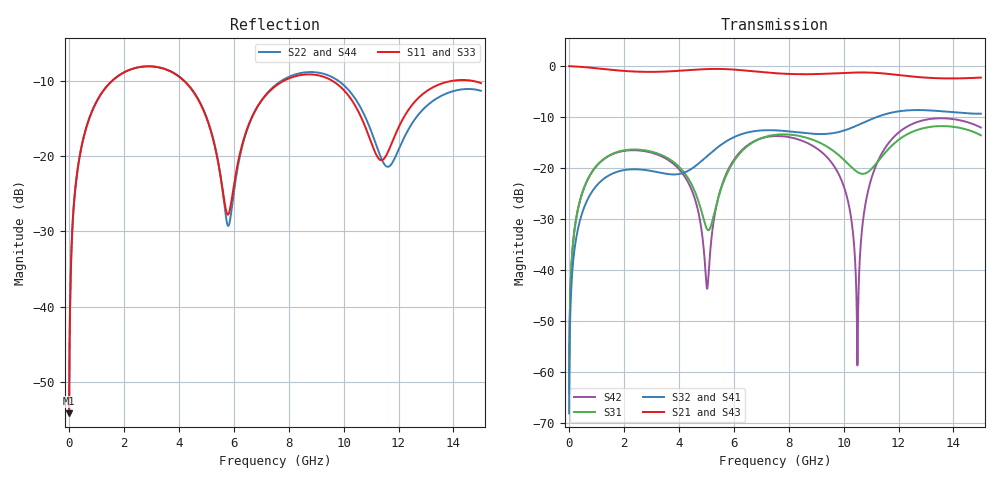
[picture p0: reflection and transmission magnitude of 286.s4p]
! Created with skrf 1.8.0 (http://scikit-rf.org).
# GHz S RI R 50.0
!freq ReS11 ImS11 ReS12 ImS12 ReS13 ImS13
! ReS14 ImS14
! ReS21 ImS21 ReS22 ImS22 ReS23 ImS23
! ReS24 ImS24
! ReS31 ImS31 ReS32 ImS32 ReS33 ImS33
! ReS34 ImS34
! ReS41 ImS41 ReS42 ImS42 ReS43 ImS43
! ReS44 ImS44
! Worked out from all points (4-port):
!   2499 points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, 5 MHz to 15 GHz, reference 50 ohm
!   strongest paths, dB at 5 MHz, 3.476 GHz, 7.19 GHz, 11.1 GHz, 15 GHz:
!     S21: 0.0, -1.1, -1.3, -1.3, -2.3
!     S43: 0.0, -1.1, -1.3, -1.3, -2.3
!     S32: -68.1, -21.1, -12.6, -10.2, -9.3
!     S41: -68.1, -21.1, -12.6, -10.2, -9.4
!     S31: -64.2, -17.7, -13.8, -19.7, -13.6
!     S42: -64.2, -18.0, -13.9, -20.7, -12.1
!   lowest |S11| = -54.2 dB at 5 MHz (marker M1), VSWR 1.00, Z = 50.2 + j0.119 ohm
!   |S11| at or under -10 dB: start of sweep to 1.569 GHz; 4.191 GHz to 7.816 GHz (3.625 GHz wide, 60.4 % of centre); 9.597 GHz to 13.94 GHz (4.342 GHz wide, 36.9 % of centre) (the widest 3 of 4)
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0.005  0.00155 0.00118  0.9984 -0.00302  7.77e-05 0.000612  -7.54e-05 -0.000384
       0.9984 -0.00302  0.00155 0.00118  -7.54e-05 -0.000384  7.76e-05 0.000612
       7.77e-05 0.000612  -7.54e-05 -0.000384  0.00155 0.00118  0.9984 -0.00302
       -7.54e-05 -0.000384  7.76e-05 0.000612  0.9984 -0.00302  0.00155 0.00118
1.469362  0.2373 0.1892  0.6172 -0.6868  0.1153 0.0663  -0.0833 -0.0171
          0.6172 -0.6868  0.2383 0.1887  -0.0833 -0.0171  0.1118 0.0704
          0.1153 0.0663  -0.0833 -0.0171  0.2373 0.1892  0.6171 -0.6869
          -0.0833 -0.0171  0.1118 0.0704  0.6171 -0.6869  0.2384 0.1887
5.796165  0.0408 -0.00126  -0.9304 -0.0471  -0.00205 0.0927  -0.00517 0.1872
          -0.9304 -0.0471  0.0341 -0.00386  -0.00463 0.1873  0.00845 0.0957
          -0.00205 0.0927  -0.00463 0.1873  0.0404 -0.00265  -0.9303 -0.0471
          -0.00517 0.1872  0.00845 0.0957  -0.9303 -0.0471  0.0348 -0.00513
9.36015  0.3208 -0.0866  0.1688 0.8243  0.0996 -0.1308  0.194 -0.0936
         0.1688 0.8243  0.3344 -0.0992  0.1939 -0.0953  0.1139 -0.0642
         0.0996 -0.1308  0.1939 -0.0953  0.3216 -0.0857  0.1702 0.8236
         0.194 -0.0936  0.1139 -0.0642  0.1702 0.8236  0.335 -0.1016
10.50438  0.1606 -0.125  0.6315 0.5921  -0.0641 -0.065  0.174 -0.1961
          0.6315 0.5921  0.1679 -0.1551  0.1724 -0.1977  0.00107 0.000442
          -0.0641 -0.065  0.1724 -0.1977  0.1622 -0.125  0.6326 0.5904
          0.174 -0.1961  0.00107 0.000442  0.6326 0.5904  0.1675 -0.1572
11.57357  0.1003 0.0223  0.8328 0.12  -0.0541 0.1372  0.0404 -0.338
          0.8328 0.12  0.0827 -0.0204  0.038 -0.3383  0.0432 0.1605
          -0.0541 0.1372  0.038 -0.3383  0.1013 0.0217  0.833 0.1171
          0.0404 -0.338  0.0432 0.1605  0.833 0.1171  0.0825 -0.0205
15  0.2891 -0.0996  0.0111 -0.7716  0.1935 -0.0802  -0.3305 0.0777
    0.0111 -0.7716  0.2643 -0.064  -0.331 0.0818  0.2098 -0.1347
    0.1935 -0.0802  -0.331 0.0818  0.2958 -0.0983  0.00603 -0.7689
    -0.3305 0.0777  0.2098 -0.1347  0.00603 -0.7689  0.2729 -0.0705
